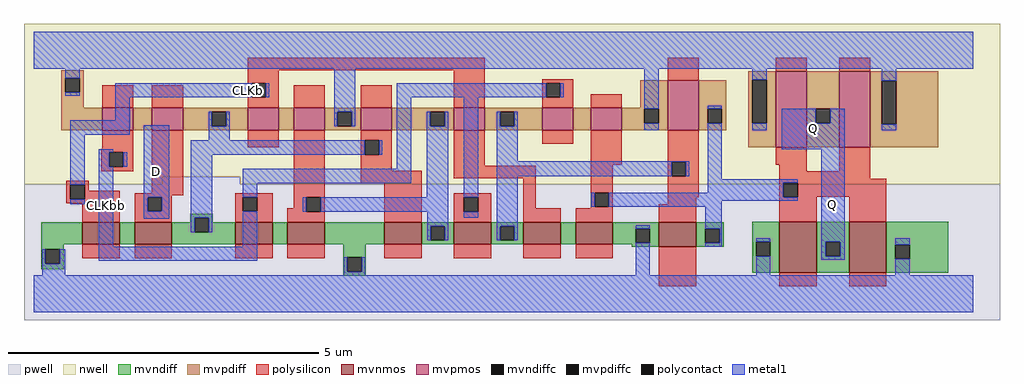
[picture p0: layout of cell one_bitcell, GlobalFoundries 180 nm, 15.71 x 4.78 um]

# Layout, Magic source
magic
tech gf180mcuD
magscale 1 10
<< nwell >>
rect 528 377 3670 870
rect 528 352 973 377
rect 1224 352 3670 377
<< pwell >>
rect 973 352 1224 377
rect 528 -86 3670 352
<< mvnmos >>
rect 716 159 836 231
rect 884 159 1004 231
rect 1208 159 1328 231
rect 1376 159 1496 231
rect 1688 159 1808 231
rect 1912 159 2032 231
rect 2136 159 2256 231
rect 2304 159 2424 231
rect 2572 151 2692 231
rect 2960 68 3080 232
rect 3184 68 3304 232
<< mvpmos >>
rect 780 527 880 599
rect 940 527 1040 599
rect 1248 527 1348 599
rect 1396 527 1496 599
rect 1612 527 1712 599
rect 1911 527 2011 599
rect 2196 527 2296 599
rect 2352 527 2452 599
rect 2600 527 2700 687
rect 2948 472 3048 716
rect 3152 472 3252 716
<< mvndiff >>
rect 1064 244 1136 257
rect 1064 231 1077 244
rect 584 159 716 231
rect 836 159 884 231
rect 1004 198 1077 231
rect 1123 231 1136 244
rect 1123 198 1208 231
rect 1004 159 1208 198
rect 1328 159 1376 231
rect 1496 159 1688 231
rect 1808 218 1912 231
rect 1808 172 1837 218
rect 1883 172 1912 218
rect 1808 159 1912 172
rect 2032 218 2136 231
rect 2032 172 2061 218
rect 2107 172 2136 218
rect 2032 159 2136 172
rect 2256 159 2304 231
rect 2424 210 2572 231
rect 2424 164 2497 210
rect 2543 164 2572 210
rect 2424 159 2572 164
rect 584 143 656 159
rect 584 97 597 143
rect 643 97 656 143
rect 1556 117 1628 159
rect 584 79 656 97
rect 1556 71 1569 117
rect 1615 71 1628 117
rect 2484 151 2572 159
rect 2692 210 2780 231
rect 2692 164 2721 210
rect 2767 164 2780 210
rect 2692 151 2780 164
rect 2872 167 2960 232
rect 1556 58 1628 71
rect 2872 121 2885 167
rect 2931 121 2960 167
rect 2872 68 2960 121
rect 3080 167 3184 232
rect 3080 121 3109 167
rect 3155 121 3184 167
rect 3080 68 3184 121
rect 3304 158 3504 232
rect 3304 112 3333 158
rect 3379 112 3504 158
rect 3304 68 3504 112
<< mvpdiff >>
rect 648 694 720 720
rect 648 648 661 694
rect 707 648 720 694
rect 648 599 720 648
rect 2860 689 2948 716
rect 2512 599 2600 687
rect 648 527 780 599
rect 880 527 940 599
rect 1040 586 1248 599
rect 1040 540 1133 586
rect 1179 540 1248 586
rect 1040 527 1248 540
rect 1348 527 1396 599
rect 1496 586 1612 599
rect 1496 540 1537 586
rect 1583 540 1612 586
rect 1496 527 1612 540
rect 1712 586 1911 599
rect 1712 540 1836 586
rect 1882 540 1911 586
rect 1712 527 1911 540
rect 2011 586 2196 599
rect 2011 540 2061 586
rect 2107 540 2196 586
rect 2011 527 2196 540
rect 2296 527 2352 599
rect 2452 595 2600 599
rect 2452 549 2525 595
rect 2571 549 2600 595
rect 2452 527 2600 549
rect 2700 595 2788 687
rect 2700 549 2729 595
rect 2775 549 2788 595
rect 2700 527 2788 549
rect 2860 549 2873 689
rect 2919 549 2948 689
rect 2860 472 2948 549
rect 3048 595 3152 716
rect 3048 549 3077 595
rect 3123 549 3152 595
rect 3048 472 3152 549
rect 3252 685 3472 716
rect 3252 545 3290 685
rect 3336 545 3472 685
rect 3252 472 3472 545
<< mvndiffc >>
rect 1077 198 1123 244
rect 1837 172 1883 218
rect 2061 172 2107 218
rect 2497 164 2543 210
rect 597 97 643 143
rect 1569 71 1615 117
rect 2721 164 2767 210
rect 2885 121 2931 167
rect 3109 121 3155 167
rect 3333 112 3379 158
<< mvpdiffc >>
rect 661 648 707 694
rect 1133 540 1179 586
rect 1537 540 1583 586
rect 1836 540 1882 586
rect 2061 540 2107 586
rect 2525 549 2571 595
rect 2729 549 2775 595
rect 2873 549 2919 689
rect 3077 549 3123 595
rect 3290 545 3336 685
<< polysilicon >>
rect 1248 720 2011 760
rect 1248 678 1348 720
rect 780 599 880 672
rect 940 599 1040 672
rect 1248 632 1261 678
rect 1307 632 1348 678
rect 1248 599 1348 632
rect 1396 599 1496 672
rect 1612 599 1712 672
rect 1911 599 2011 720
rect 2196 678 2296 691
rect 2600 687 2700 760
rect 2948 716 3048 760
rect 3152 716 3252 760
rect 2196 632 2209 678
rect 2255 632 2296 678
rect 2196 599 2296 632
rect 2352 599 2452 643
rect 780 467 880 527
rect 777 455 880 467
rect 777 409 802 455
rect 848 409 880 455
rect 777 395 880 409
rect 664 351 736 364
rect 664 305 677 351
rect 723 332 736 351
rect 723 305 836 332
rect 940 324 1040 527
rect 1248 471 1348 527
rect 664 292 836 305
rect 716 231 836 292
rect 884 317 1040 324
rect 884 311 1004 317
rect 884 265 926 311
rect 972 265 1004 311
rect 884 231 1004 265
rect 1208 311 1328 324
rect 1208 265 1233 311
rect 1279 265 1328 311
rect 1396 310 1496 527
rect 1612 494 1712 527
rect 1612 448 1625 494
rect 1671 448 1712 494
rect 1612 396 1712 448
rect 1911 412 2011 527
rect 2196 483 2296 527
rect 2352 416 2452 527
rect 2600 425 2700 527
rect 1612 356 1808 396
rect 1911 372 2176 412
rect 1396 275 1437 310
rect 1208 231 1328 265
rect 1376 264 1437 275
rect 1483 264 1496 310
rect 1376 231 1496 264
rect 1688 231 1808 356
rect 1912 310 2032 323
rect 1912 264 1944 310
rect 1990 264 2032 310
rect 1912 231 2032 264
rect 2136 275 2176 372
rect 2352 326 2424 416
rect 2352 280 2365 326
rect 2411 280 2424 326
rect 2600 379 2613 425
rect 2659 379 2700 425
rect 2948 416 3048 472
rect 2600 311 2700 379
rect 2960 394 3048 416
rect 3152 394 3252 472
rect 2960 370 3252 394
rect 2960 357 3304 370
rect 2960 311 2973 357
rect 3019 313 3304 357
rect 3019 311 3080 313
rect 2600 288 2692 311
rect 2352 275 2424 280
rect 2136 231 2256 275
rect 2304 231 2424 275
rect 2572 231 2692 288
rect 2960 232 3080 311
rect 3184 232 3304 313
rect 716 115 836 159
rect 884 115 1004 159
rect 1208 115 1328 159
rect 1376 115 1496 159
rect 1688 115 1808 159
rect 1912 115 2032 159
rect 2136 115 2256 159
rect 2304 115 2424 159
rect 2572 24 2692 151
rect 2960 24 3080 68
rect 3184 24 3304 68
<< polycontact >>
rect 1261 632 1307 678
rect 2209 632 2255 678
rect 802 409 848 455
rect 677 305 723 351
rect 926 265 972 311
rect 1233 265 1279 311
rect 1625 448 1671 494
rect 1437 264 1483 310
rect 1944 264 1990 310
rect 2365 280 2411 326
rect 2613 379 2659 425
rect 2973 311 3019 357
<< metal1 >>
rect 560 724 3584 844
rect 661 694 707 724
rect 661 637 707 648
rect 822 632 1261 678
rect 1307 632 1318 678
rect 822 558 868 632
rect 1526 586 1594 724
rect 677 512 868 558
rect 677 351 723 512
rect 677 288 723 305
rect 769 455 815 465
rect 769 409 802 455
rect 848 409 861 455
rect 769 152 815 409
rect 914 311 995 542
rect 1122 540 1133 586
rect 1179 540 1190 586
rect 1526 540 1537 586
rect 1583 540 1594 586
rect 1728 632 2209 678
rect 2255 632 2266 678
rect 1122 494 1190 540
rect 914 265 926 311
rect 972 265 995 311
rect 914 242 995 265
rect 1065 448 1625 494
rect 1671 448 1682 494
rect 1065 244 1134 448
rect 1728 402 1774 632
rect 1065 198 1077 244
rect 1123 198 1134 244
rect 1233 356 1774 402
rect 1825 540 1836 586
rect 1882 540 1894 586
rect 1233 311 1279 356
rect 1825 310 1894 540
rect 1233 152 1279 265
rect 1426 264 1437 310
rect 1483 264 1894 310
rect 1826 218 1894 264
rect 1944 310 1990 632
rect 2525 595 2571 724
rect 2873 689 2919 724
rect 1944 245 1990 264
rect 2050 540 2061 586
rect 2107 540 2118 586
rect 2050 426 2118 540
rect 2525 527 2571 549
rect 2729 595 2775 606
rect 2050 425 2670 426
rect 2050 379 2613 425
rect 2659 379 2670 425
rect 1826 172 1837 218
rect 1883 172 1894 218
rect 2050 218 2118 379
rect 2729 368 2775 549
rect 3290 685 3336 724
rect 2873 527 2919 549
rect 2967 549 3077 595
rect 3123 549 3170 595
rect 2967 466 3170 549
rect 3290 527 3336 545
rect 2729 357 3019 368
rect 2729 326 2973 357
rect 2354 280 2365 326
rect 2411 311 2973 326
rect 2411 300 3019 311
rect 2411 280 2774 300
rect 2050 172 2061 218
rect 2107 172 2118 218
rect 2497 210 2543 221
rect 586 97 597 143
rect 643 97 660 143
rect 769 106 1279 152
rect 586 60 660 97
rect 1558 71 1569 117
rect 1615 71 1626 117
rect 1558 60 1626 71
rect 2497 60 2543 164
rect 2721 210 2774 280
rect 2767 164 2774 210
rect 2721 151 2774 164
rect 2885 167 2931 178
rect 2885 60 2931 121
rect 3094 167 3170 466
rect 3094 121 3109 167
rect 3155 121 3170 167
rect 3094 110 3170 121
rect 3333 158 3379 178
rect 3333 60 3379 112
rect 560 -60 3584 60
<< labels >>
flabel metal1 s 2967 466 3170 595 0 FreeSans 600 0 0 0 Q
flabel metal1 s 914 242 995 542 0 FreeSans 600 0 0 0 D
rlabel metal1 s 3094 110 3170 466 1 Q
rlabel nwell 1182 632 1318 678 1 CLKb
rlabel metal1 769 106 815 465 1 CLKbb
<< properties >>
string FIXED_BBOX 0 0 3248 784
string LEFclass core
string LEFsite GF018hv5v_mcu_sc7
string LEFsymmetry X Y
<< end >>
